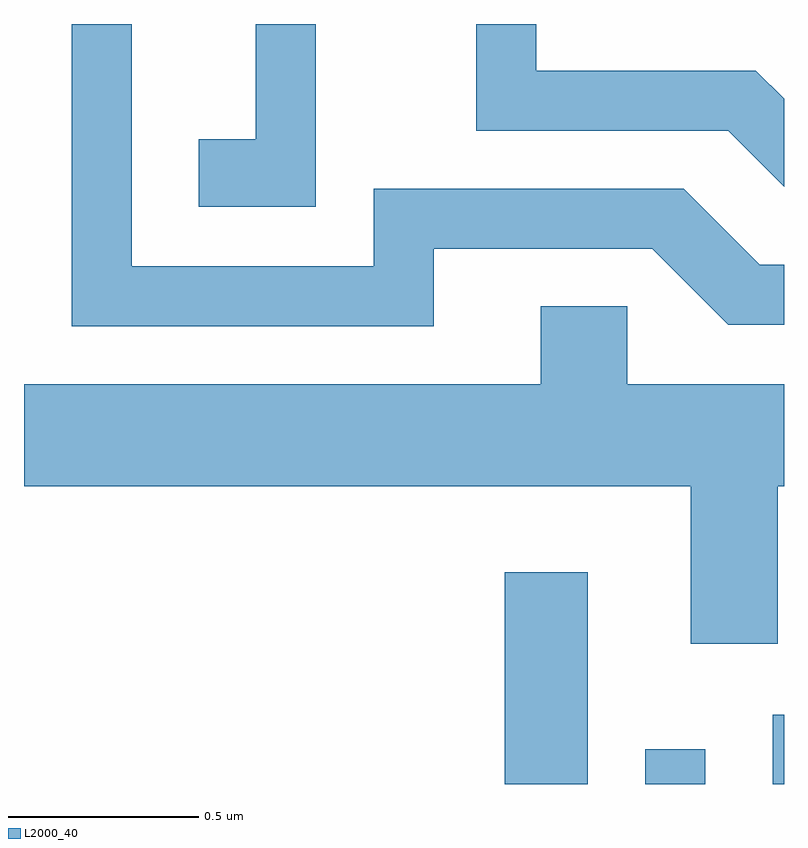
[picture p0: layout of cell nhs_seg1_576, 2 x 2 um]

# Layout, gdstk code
import gdstk
lib = gdstk.Library(unit=1e-6, precision=1e-09)
def R(c, l, rs):  # rectangles x0, y0, x1, y1
    for r in rs: c.add(gdstk.rectangle(r[:2], r[2:], *l))
def P(c, l, *ps):  # polygons
    for p in ps: c.add(gdstk.Polygon(p, *l))
L2000_40 = (2000, 40)

nhs_seg1_576 = lib.new_cell('nhs_seg1_576')
R(nhs_seg1_576, L2000_40, [(190.876,867.712,191.094,868.269), (191.246,867.712,191.404,867.803), (191.581,867.712,191.611,867.894)])
P(nhs_seg1_576, L2000_40, [(191.611,869.515),(191.537,869.589),(190.959,869.589),(190.959,869.712),(190.801,869.712),(190.801,869.431),(191.464,869.431),(191.611,869.284)],
  [(190.689,869.121),(191.264,869.121),(191.464,868.921),(191.611,868.921),(191.611,869.079),(191.547,869.079),(191.347,869.279),(190.531,869.279),(190.531,869.074),(189.894,869.074),(189.894,869.712),(189.736,869.712),(189.736,868.916),(190.689,868.916)],
  [(190.379,869.712),(190.221,869.712),(190.221,869.409),(190.071,869.409),(190.071,869.231),(190.379,869.231)],
  [(191.594,868.496),(191.611,868.496),(191.611,868.764),(191.199,868.764),(191.199,868.969),(190.971,868.969),(190.971,868.764),(189.611,868.764),(189.611,868.496),(191.366,868.496),(191.366,868.081),(191.594,868.081)])

lib.write_gds('nhs_seg1_576.gds')
